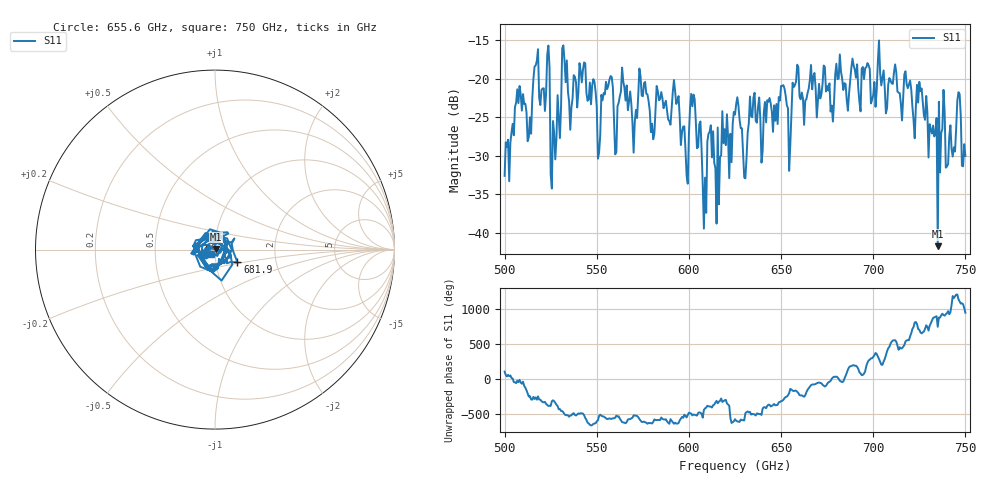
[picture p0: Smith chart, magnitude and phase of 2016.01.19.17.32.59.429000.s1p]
!Created with skrf (http://scikit-rf.org).
# GHz S RI R 50.0
!freq ReS11 ImS11
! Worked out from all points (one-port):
!   401 points, 500 GHz to 750 GHz, reference 50 ohm
!   lowest |S11| = -41.7 dB at 735 GHz (marker M1), VSWR 1.02, Z = 50.8 + j0.318 ohm
!   |S11| at or under -10 dB: start of sweep to end of sweep
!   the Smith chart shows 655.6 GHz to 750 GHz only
!   S11 on the Smith chart (normalised r, x): 655.6 GHz: 0.90, -0.04; 681.9 GHz: 1.27, -0.18; 750 GHz: 0.95, -0.04
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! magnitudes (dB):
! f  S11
! 500 GHz  -32.6
! 507.5 GHz  -23.2
! 513.8 GHz  -25.0
! 516.9 GHz  -18.3
! 523.1 GHz  -16.9
! 526.2 GHz  -25.5
! 531.2 GHz  -16.1
! 542.5 GHz  -18.9
! 551.2 GHz  -29.6
! 556.2 GHz  -20.9
! 562.5 GHz  -22.3
! 593.8 GHz  -22.9
! 598.8 GHz  -32.6
! 602.5 GHz  -22.1
! 608.1 GHz  -39.4
! 611.2 GHz  -26.9
! 615.6 GHz  -26.3
! 625 GHz  -24.7
! 630.6 GHz  -32.9
! 634.4 GHz  -25.0
! 655.6 GHz  -24.6
! 656.2 GHz  -20.5
! 681.9 GHz  -16.9
! 687.5 GHz  -20.3
! 718.8 GHz  -21.3
! 735 GHz  -41.7
! 746.2 GHz  -21.8
! 750 GHz  -30.0
